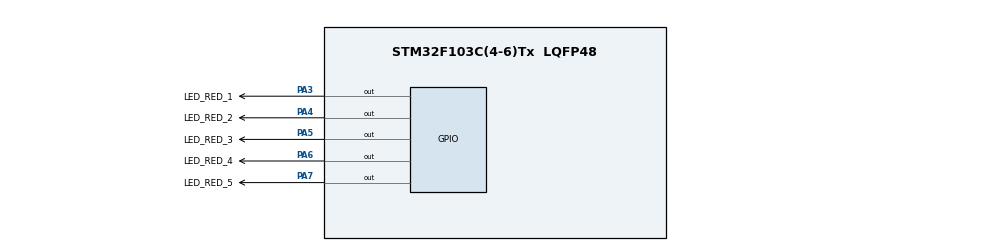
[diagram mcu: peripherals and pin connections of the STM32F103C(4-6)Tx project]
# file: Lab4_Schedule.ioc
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Mcu.Family=STM32F1
Mcu.Name=STM32F103C(4-6)Tx
Mcu.Package=LQFP48
NVIC.PriorityGroup=NVIC_PRIORITYGROUP_4
NVIC.TIM2_IRQn=true\:0\:0\:false\:false\:true\:true\:true
PA3.GPIO_Label=LED_RED_1
PA3.Signal=GPIO_Output
PA4.GPIO_Label=LED_RED_2
PA4.Signal=GPIO_Output
PA5.GPIO_Label=LED_RED_3
PA5.Signal=GPIO_Output
PA6.GPIO_Label=LED_RED_4
PA6.Signal=GPIO_Output
PA7.GPIO_Label=LED_RED_5
PA7.Signal=GPIO_Output
ProjectManager.HeapSize=0x200
ProjectManager.StackSize=0x400
ProjectManager.TargetToolchain=STM32CubeIDE
RCC.APB1Freq_Value=8000000
RCC.APB2Freq_Value=8000000
TIM2.Period=9
TIM2.Prescaler=7999
VP_SYS_VS_ND.Mode=No_Debug
VP_TIM2_VS_ClockSourceINT.Mode=Internal
board=custom

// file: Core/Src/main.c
/* USER CODE BEGIN Header */
/**
  ******************************************************************************
  * @file           : main.c
  * @brief          : Main program body
  ******************************************************************************
  * @attention
  *
  * <h2><center>&copy; Copyright (c) 2022 STMicroelectronics.
  * All rights reserved.</center></h2>
  *
  * This software component is licensed by ST under BSD 3-Clause license,
  * the "License"; You may not use this file except in compliance with the
  * License. You may obtain a copy of the License at:
  *                        opensource.org/licenses/BSD-3-Clause
  *
  ******************************************************************************
  */
/* USER CODE END Header */
#include "main.h"

/* USER CODE BEGIN Includes */
#include"global.h"
#include "Task.h"
#include "schedule.h"
/* USER CODE END Includes */

TIM_HandleTypeDef htim2;

void SystemClock_Config(void);
static void MX_GPIO_Init(void);
static void MX_TIM2_Init(void);

int main(void)
{

  /* MCU Configuration--------------------------------------------------------*/

  /* Reset of all peripherals, Initializes the Flash interface and the Systick. */
  HAL_Init();

  /* Configure the system clock */
  SystemClock_Config();

  /* Initialize all configured peripherals */
  MX_GPIO_Init();
  MX_TIM2_Init();
  /* USER CODE BEGIN 2 */
  // INIT STATE: all led off
  HAL_TIM_Base_Start_IT (& htim2 );
  HAL_GPIO_WritePin(LED_RED_1_GPIO_Port, LED_RED_1_Pin, 1);
  HAL_GPIO_WritePin(LED_RED_2_GPIO_Port, LED_RED_2_Pin, 1);
  HAL_GPIO_WritePin(LED_RED_3_GPIO_Port, LED_RED_3_Pin, 1);
  HAL_GPIO_WritePin(LED_RED_4_GPIO_Port, LED_RED_4_Pin, 1);
  HAL_GPIO_WritePin(LED_RED_5_GPIO_Port, LED_RED_5_Pin, 1);
  /* USER CODE END 2 */

  /* Infinite loop */
  /* USER CODE BEGIN WHILE */
  // adjust period = 0 to simulate "one shot task"
  SCH_Add_Task(ToggleLEDRED_1, 500, 1000);        // Task1
 SCH_Add_Task(ToggleLEDRED_2, 1000, 2000);             // Task2
 SCH_Add_Task(ToggleLEDRED_3, 1500, 3000);       // Task3
  SCH_Add_Task(ToggleLEDRED_4, 2000, 0);      // Task4
  SCH_Add_Task(ToggleLEDRED_5, 2500, 0);      // Task5
  while (1)
  {
    /* USER CODE END WHILE */
          SCH_Dispatch_Tasks();
  }
}

void SystemClock_Config(void)
{
  RCC_OscInitTypeDef RCC_OscInitStruct = {0};
  RCC_ClkInitTypeDef RCC_ClkInitStruct = {0};

  /** Initializes the RCC Oscillators according to the specified parameters
  * in the RCC_OscInitTypeDef structure.
  */
  RCC_OscInitStruct.OscillatorType = RCC_OSCILLATORTYPE_HSI;
  RCC_OscInitStruct.HSIState = RCC_HSI_ON;
  RCC_OscInitStruct.HSICalibrationValue = RCC_HSICALIBRATION_DEFAULT;
  RCC_OscInitStruct.PLL.PLLState = RCC_PLL_NONE;
  if (HAL_RCC_OscConfig(&RCC_OscInitStruct) != HAL_OK)
  {
    Error_Handler();
  }
  /** Initializes the CPU, AHB and APB buses clocks
  */
  RCC_ClkInitStruct.ClockType = RCC_CLOCKTYPE_HCLK|RCC_CLOCKTYPE_SYSCLK
                              |RCC_CLOCKTYPE_PCLK1|RCC_CLOCKTYPE_PCLK2;
  RCC_ClkInitStruct.SYSCLKSource = RCC_SYSCLKSOURCE_HSI;
  RCC_ClkInitStruct.AHBCLKDivider = RCC_SYSCLK_DIV1;
  RCC_ClkInitStruct.APB1CLKDivider = RCC_HCLK_DIV1;
  RCC_ClkInitStruct.APB2CLKDivider = RCC_HCLK_DIV1;

  if (HAL_RCC_ClockConfig(&RCC_ClkInitStruct, FLASH_LATENCY_0) != HAL_OK)
  {
    Error_Handler();
  }
}

static void MX_TIM2_Init(void)
{

  TIM_ClockConfigTypeDef sClockSourceConfig = {0};
  TIM_MasterConfigTypeDef sMasterConfig = {0};

  htim2.Instance = TIM2;
  htim2.Init.Prescaler = 7999;
  htim2.Init.CounterMode = TIM_COUNTERMODE_UP;
  htim2.Init.Period = 9;
  htim2.Init.ClockDivision = TIM_CLOCKDIVISION_DIV1;
  htim2.Init.AutoReloadPreload = TIM_AUTORELOAD_PRELOAD_DISABLE;
  if (HAL_TIM_Base_Init(&htim2) != HAL_OK)
  {
    Error_Handler();
  }
  sClockSourceConfig.ClockSource = TIM_CLOCKSOURCE_INTERNAL;
  if (HAL_TIM_ConfigClockSource(&htim2, &sClockSourceConfig) != HAL_OK)
  {
    Error_Handler();
  }
  sMasterConfig.MasterOutputTrigger = TIM_TRGO_RESET;
  sMasterConfig.MasterSlaveMode = TIM_MASTERSLAVEMODE_DISABLE;
  if (HAL_TIMEx_MasterConfigSynchronization(&htim2, &sMasterConfig) != HAL_OK)
  {
    Error_Handler();
  }

}

static void MX_GPIO_Init(void)
{
  GPIO_InitTypeDef GPIO_InitStruct = {0};

  /* GPIO Ports Clock Enable */
  __HAL_RCC_GPIOA_CLK_ENABLE();

  /*Configure GPIO pin Output Level */
  HAL_GPIO_WritePin(GPIOA, LED_RED_1_Pin|LED_RED_2_Pin|LED_RED_3_Pin|LED_RED_4_Pin
                          |LED_RED_5_Pin, GPIO_PIN_RESET);

  /*Configure GPIO pins : LED_RED_1_Pin LED_RED_2_Pin LED_RED_3_Pin LED_RED_4_Pin
                           LED_RED_5_Pin */
  GPIO_InitStruct.Pin = LED_RED_1_Pin|LED_RED_2_Pin|LED_RED_3_Pin|LED_RED_4_Pin
                          |LED_RED_5_Pin;
  GPIO_InitStruct.Mode = GPIO_MODE_OUTPUT_PP;
  GPIO_InitStruct.Pull = GPIO_NOPULL;
  GPIO_InitStruct.Speed = GPIO_SPEED_FREQ_LOW;
  HAL_GPIO_Init(GPIOA, &GPIO_InitStruct);

}

/* USER CODE BEGIN 4 */
void HAL_TIM_PeriodElapsedCallback (TIM_HandleTypeDef * htim )
{
	SCH_Update();
}
/* USER CODE END 4 */

void Error_Handler(void)
{
  __disable_irq();
  while (1)
  {
  }
}

/************************ (C) COPYRIGHT STMicroelectronics *****END OF FILE****/
